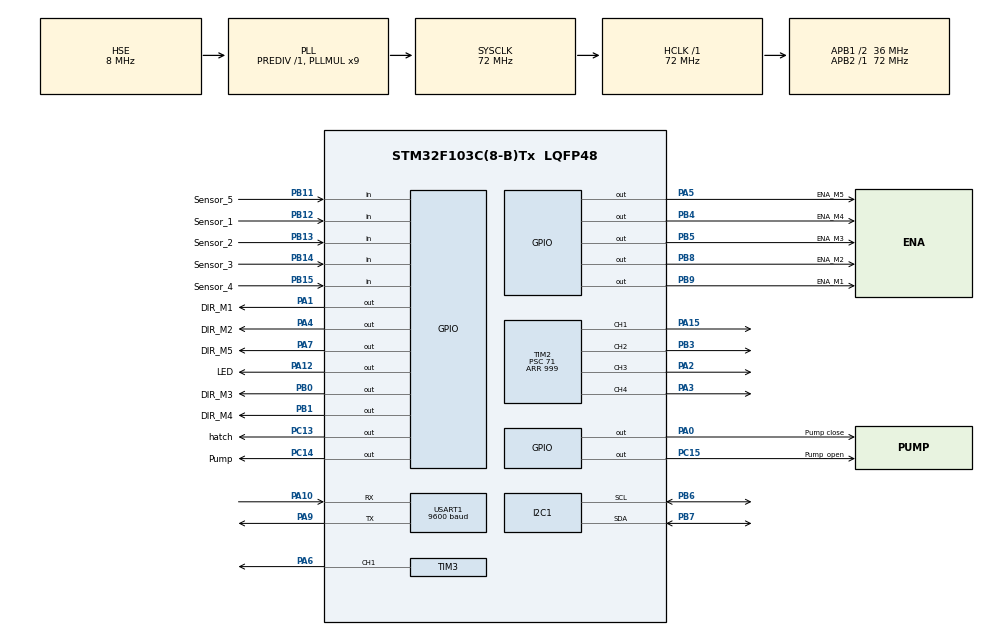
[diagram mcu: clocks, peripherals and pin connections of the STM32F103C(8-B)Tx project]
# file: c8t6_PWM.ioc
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Mcu.Family=STM32F1
Mcu.Name=STM32F103C(8-B)Tx
Mcu.Package=LQFP48
NVIC.PriorityGroup=NVIC_PRIORITYGROUP_4
NVIC.TIM2_IRQn=true\:0\:0\:false\:false\:true\:true\:true\:true
NVIC.TIM3_IRQn=true\:0\:0\:false\:false\:true\:true\:true\:true
NVIC.TIM4_IRQn=true\:0\:0\:false\:false\:true\:true\:true\:true
NVIC.USART1_IRQn=true\:0\:0\:false\:false\:true\:true\:true\:true
PA0-WKUP.GPIO_Label=Pump close
PA0-WKUP.Signal=GPIO_Output
PA1.GPIO_Label=DIR_M1
PA1.Signal=GPIO_Output
PA10.Mode=Asynchronous
PA10.Signal=USART1_RX
PA12.GPIO_Label=LED
PA12.Signal=GPIO_Output
PA13.Mode=Serial_Wire
PA13.Signal=SYS_JTMS-SWDIO
PA14.Mode=Serial_Wire
PA14.Signal=SYS_JTCK-SWCLK
PA15.Signal=S_TIM2_CH1_ETR
PA2.Signal=S_TIM2_CH3
PA3.Signal=S_TIM2_CH4
PA4.GPIO_Label=DIR_M2
PA4.Signal=GPIO_Output
PA5.GPIO_Label=ENA_M5
PA5.Signal=GPIO_Output
PA6.Signal=S_TIM3_CH1
PA7.GPIO_Label=DIR_M5
PA7.Signal=GPIO_Output
PA9.Mode=Asynchronous
PA9.Signal=USART1_TX
PB0.GPIO_Label=DIR_M3
PB0.Signal=GPIO_Output
PB1.GPIO_Label=DIR_M4
PB1.Signal=GPIO_Output
PB11.GPIO_Label=Sensor_5
PB11.Signal=GPIO_Input
PB12.GPIO_Label=Sensor_1
PB12.Signal=GPIO_Input
PB13.GPIO_Label=Sensor_2
PB13.Signal=GPIO_Input
PB14.GPIO_Label=Sensor_3
PB14.Signal=GPIO_Input
PB15.GPIO_Label=Sensor_4
PB15.Signal=GPIO_Input
PB3.Signal=S_TIM2_CH2
PB4.GPIO_Label=ENA_M4
PB4.Signal=GPIO_Output
PB5.GPIO_Label=ENA_M3
PB5.Signal=GPIO_Output
PB6.Mode=I2C
PB6.Signal=I2C1_SCL
PB7.Mode=I2C
PB7.Signal=I2C1_SDA
PB8.GPIO_Label=ENA_M2
PB8.Signal=GPIO_Output
PB9.GPIO_Label=ENA_M1
PB9.Signal=GPIO_Output
PC13-TAMPER-RTC.GPIO_Label=hatch
PC13-TAMPER-RTC.Signal=GPIO_Output
PC14-OSC32_IN.GPIO_Label=Pump
PC14-OSC32_IN.Signal=GPIO_Output
PC15-OSC32_OUT.GPIO_Label=Pump_open
PC15-OSC32_OUT.Signal=GPIO_Output
PD0-OSC_IN.Mode=HSE-External-Oscillator
PD0-OSC_IN.Signal=RCC_OSC_IN
PD1-OSC_OUT.Mode=HSE-External-Oscillator
PD1-OSC_OUT.Signal=RCC_OSC_OUT
ProjectManager.HeapSize=0x200
ProjectManager.StackSize=0x400
ProjectManager.TargetToolchain=STM32CubeIDE
RCC.AHBFreq_Value=72000000
RCC.APB1CLKDivider=RCC_HCLK_DIV2
RCC.APB1Freq_Value=36000000
RCC.APB1TimFreq_Value=72000000
RCC.APB2Freq_Value=72000000
RCC.APB2TimFreq_Value=72000000
RCC.HCLKFreq_Value=72000000
RCC.PLLMUL=RCC_PLL_MUL9
RCC.PLLSourceVirtual=RCC_PLLSOURCE_HSE
RCC.SYSCLKFreq_VALUE=72000000
RCC.SYSCLKSource=RCC_SYSCLKSOURCE_PLLCLK
RCC.USBFreq_Value=72000000
SH.S_TIM2_CH1_ETR.0=TIM2_CH1,PWM Generation1 CH1
SH.S_TIM2_CH2.0=TIM2_CH2,PWM Generation2 CH2
SH.S_TIM2_CH3.0=TIM2_CH3,PWM Generation3 CH3
SH.S_TIM2_CH4.0=TIM2_CH4,PWM Generation4 CH4
SH.S_TIM3_CH1.0=TIM3_CH1,PWM Generation1 CH1
TIM2.Channel-PWM\ Generation1\ CH1=TIM_CHANNEL_1
TIM2.Channel-PWM\ Generation2\ CH2=TIM_CHANNEL_2
TIM2.Channel-PWM\ Generation3\ CH3=TIM_CHANNEL_3
TIM2.Channel-PWM\ Generation4\ CH4=TIM_CHANNEL_4
TIM2.Period=999
TIM2.Prescaler=71
TIM2.Pulse-PWM\ Generation1\ CH1=500
TIM2.Pulse-PWM\ Generation2\ CH2=500
TIM2.Pulse-PWM\ Generation3\ CH3=500
TIM2.Pulse-PWM\ Generation4\ CH4=500
TIM3.Channel-PWM\ Generation1\ CH1=TIM_CHANNEL_1
TIM3.Period=999
TIM3.Prescaler=71
TIM3.Pulse-PWM\ Generation1\ CH1=500
TIM4.Period=999
TIM4.Prescaler=71
USART1.BaudRate=9600
USART1.Parity=PARITY_NONE
USART1.VirtualMode=VM_ASYNC
VP_IWDG_VS_IWDG.Mode=IWDG_Activate
VP_TIM2_VS_ClockSourceINT.Mode=Internal
VP_TIM3_VS_ClockSourceINT.Mode=Internal
VP_TIM4_VS_ClockSourceINT.Mode=Internal
board=custom

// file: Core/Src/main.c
/* USER CODE BEGIN Header */
/* USER CODE END Header */
#include "main.h"
#include "i2c.h"
#include "iwdg.h"
#include "tim.h"
#include "usart.h"
#include "gpio.h"

/* USER CODE BEGIN Includes */
#include "stm32f1xx_hal.h"
#include "string.h"
#include "stdio.h"
#include "stdint.h"
/* USER CODE END Includes */

/* USER CODE BEGIN PD */
#define DIR_M1 GPIO_PA1
#define DIR_M2 GPIO_PA4
#define DIR_M3 GPIO_PB0
#define DIR_M4 GPIO_PB1
#define DIR_M5 GPIO_PA7
#define LED_PIN GPIO_PIN_13
#define UART_BUFFER_SIZE 16

typedef enum{
	M1,
	M2,
	M3,
	M4,
	M5
} Motor;

typedef enum{
	A,
	B,
	C,
	D,
	E,
	F,
	G,
	H
}Prescription;

/* USER CODE END PD */

void SystemClock_Config(void);
/* USER CODE BEGIN PFP */
void Move_Motor(Motor motor, int16_t step);
void HAL_TIM_PWM_PulseFinishedCallback(TIM_HandleTypeDef *htim);
void HAL_UART_RxCpltCallback(UART_HandleTypeDef *huart);
void First_Pick(Prescription pres);
void Second_Pick(int16_t val1, int16_t val2, int16_t val3);
void Calibrate(Motor motor);
void Delay_ms(uint16_t delay_ms);

uint8_t rx_buffer[UART_BUFFER_SIZE]={0};
uint8_t tx_buffer[UART_BUFFER_SIZE]={0};

uint8_t calibration_done = 0;

volatile int16_t val1=0;
volatile int16_t val2=0;
volatile int16_t val3=0;

volatile uint8_t second_pick_flag = 0;
/* USER CODE END PFP */

/* USER CODE BEGIN 0 */
volatile uint16_t pwm_count_M1 = 0; // Tracks steps for Motor 1
volatile uint16_t pwm_target_M1 = 0;

volatile uint16_t pwm_count_M2 = 0;
volatile uint16_t pwm_target_M2 = 0;

volatile uint16_t pwm_count_M3 = 0;
volatile uint16_t pwm_target_M3 = 0;

volatile uint16_t pwm_count_M4 = 0;
volatile uint16_t pwm_target_M4 = 0;

volatile uint16_t pwm_count_M5 = 0;
volatile uint16_t pwm_target_M5 = 0;

volatile uint8_t M1_movedone = 0;
volatile uint8_t M2_movedone = 0;
volatile uint8_t M3_movedone = 0;
volatile uint8_t M4_movedone = 0;
volatile uint8_t M5_movedone = 0;

volatile uint32_t timer_delay = 0;

/* USER CODE END 0 */

int main(void)
{

  /* MCU Configuration--------------------------------------------------------*/

  /* Reset of all peripherals, Initializes the Flash interface and the Systick. */
  HAL_Init();

  /* Configure the system clock */
  SystemClock_Config();

  /* Initialize all configured peripherals */
  MX_GPIO_Init();
  MX_TIM2_Init();
  MX_USART1_UART_Init();
  MX_TIM3_Init();
  MX_TIM4_Init();
  MX_I2C1_Init();
  MX_IWDG_Init();
  /* USER CODE BEGIN 2 */

  Calibrate(M3);
  Calibrate(M1);
  Calibrate(M2);
  Calibrate(M5);
  Calibrate(M4);

  Delay_ms(1000);

  HAL_UART_Receive_IT(&huart1,rx_buffer,6);

//First_Pick();
//  Second_Pick(val1,val2,val3);
//  Move_Motor(M4,920,CCW); //CW:Pill 1->200, pill 2->380, pill 3->560, pill 4->740, pill 5->920, pill 6->1100, pill 7->1260, pill8->1450

  	  	  	Move_Motor(M1,1300); //MOVE M1
        	    while (!M1_movedone) {
        	    }

        	Move_Motor(M2,400);
        	    while (!M2_movedone) {
       	    }

        	Move_Motor(M4, -590); //MOVE BASKET //CW:Pill 1->-200, pill 2->-420, pill 3->-590, pill 4->-740, pill 5->-920, pill 6->-1100, pill 7->1260, pill8->1450
        	    while (!M4_movedone) {
        	    }

        	Delay_ms(500);

        	HAL_GPIO_WritePin(GPIOA, GPIO_PIN_0, GPIO_PIN_SET); //OPEN HATCH
        	Delay_ms(100);
        	HAL_GPIO_WritePin(GPIOA, GPIO_PIN_0, GPIO_PIN_SET); //PUMP Open
        	Delay_ms(100);
        	HAL_GPIO_WritePin(GPIOC, GPIO_PIN_14, GPIO_PIN_SET); // PUMP START
        	Delay_ms(100);

        	Move_Motor(M3,-2550);  //M3 DOWN
        		  while (!M3_movedone) {
                 }
        	Delay_ms(1000);

        	HAL_GPIO_WritePin(GPIOA, GPIO_PIN_0, GPIO_PIN_RESET); //PUMP reset
        	Delay_ms(100);
        	HAL_GPIO_WritePin(GPIOC, GPIO_PIN_14, GPIO_PIN_RESET); // PUMP STOP
        	Delay_ms(200);

            HAL_GPIO_WritePin(GPIOC, GPIO_PIN_13, GPIO_PIN_SET);
            Delay_ms(100);
            HAL_GPIO_WritePin(GPIOC, GPIO_PIN_14, GPIO_PIN_SET); // PUMP START
            Delay_ms(200);

        	Move_Motor(M3,2100); //M3 UP
        	while (!M3_movedone) {
       	    }

            Delay_ms(2000);
            HAL_GPIO_WritePin(GPIOC, GPIO_PIN_13, GPIO_PIN_RESET);
            Delay_ms(100);
        	HAL_GPIO_WritePin(GPIOA, GPIO_PIN_0, GPIO_PIN_SET);
        	Delay_ms(300);
        	HAL_GPIO_WritePin(GPIOA, GPIO_PIN_0, GPIO_PIN_RESET);
        	Delay_ms(300);
        	HAL_GPIO_WritePin(GPIOC, GPIO_PIN_14, GPIO_PIN_RESET); //PUMP STOP

        	Calibrate(M3);
        	Calibrate(M5);
        	Calibrate(M1);
        	Calibrate(M2);
        	Calibrate(M4);

        	Delay_ms(1000);

  /* USER CODE END 2 */

  /* Infinite loop */
  while(1){

    /* USER CODE BEGIN 3 */

      if(second_pick_flag)
      {
    	  second_pick_flag = 0;
          Second_Pick(val1, val2, val3);
         }

  }
  /* USER CODE END 3 */
}

void SystemClock_Config(void)
{
  RCC_OscInitTypeDef RCC_OscInitStruct = {0};
  RCC_ClkInitTypeDef RCC_ClkInitStruct = {0};

  /** Initializes the RCC Oscillators according to the specified parameters
  * in the RCC_OscInitTypeDef structure.
  */
  RCC_OscInitStruct.OscillatorType = RCC_OSCILLATORTYPE_LSI|RCC_OSCILLATORTYPE_HSE;
  RCC_OscInitStruct.HSEState = RCC_HSE_ON;
  RCC_OscInitStruct.HSEPredivValue = RCC_HSE_PREDIV_DIV1;
  RCC_OscInitStruct.HSIState = RCC_HSI_ON;
  RCC_OscInitStruct.LSIState = RCC_LSI_ON;
  RCC_OscInitStruct.PLL.PLLState = RCC_PLL_ON;
  RCC_OscInitStruct.PLL.PLLSource = RCC_PLLSOURCE_HSE;
  RCC_OscInitStruct.PLL.PLLMUL = RCC_PLL_MUL9;
  if (HAL_RCC_OscConfig(&RCC_OscInitStruct) != HAL_OK)
  {
    Error_Handler();
  }

  /** Initializes the CPU, AHB and APB buses clocks
  */
  RCC_ClkInitStruct.ClockType = RCC_CLOCKTYPE_HCLK|RCC_CLOCKTYPE_SYSCLK
                              |RCC_CLOCKTYPE_PCLK1|RCC_CLOCKTYPE_PCLK2;
  RCC_ClkInitStruct.SYSCLKSource = RCC_SYSCLKSOURCE_PLLCLK;
  RCC_ClkInitStruct.AHBCLKDivider = RCC_SYSCLK_DIV1;
  RCC_ClkInitStruct.APB1CLKDivider = RCC_HCLK_DIV2;
  RCC_ClkInitStruct.APB2CLKDivider = RCC_HCLK_DIV1;

  if (HAL_RCC_ClockConfig(&RCC_ClkInitStruct, FLASH_LATENCY_2) != HAL_OK)
  {
    Error_Handler();
  }
}

/* USER CODE BEGIN 4 */
void HAL_UART_RxCpltCallback(UART_HandleTypeDef *huart)
{

     val1 = 0; // Initialize to 0
     val2 = 0; // Initialize to 0
     val3 = 0; // Initialize to 0

	//Prescription pres='\0';

    if (huart->Instance == USART1)
    {

        val1 = (int16_t)(rx_buffer[0] | (rx_buffer[1] << 8));
        val2 = (int16_t)(rx_buffer[2] | (rx_buffer[3] << 8));
        val3 = (int16_t)(rx_buffer[4] | (rx_buffer[5] << 8));

    	tx_buffer[0] = (uint8_t)(val1 & 0xFF);
    	tx_buffer[1] = (uint8_t)((val1 >> 8) & 0xFF);

    	tx_buffer[2] = (uint8_t)(val2 & 0xFF);
    	tx_buffer[3] = (uint8_t)((val2 >> 8) & 0xFF);

    	tx_buffer[4] = (uint8_t)(val3 & 0xFF);
    	tx_buffer[5] = (uint8_t)((val3 >> 8) & 0xFF);

       	HAL_UART_Transmit(&huart1,tx_buffer, 6, 100);

       	second_pick_flag = 1;

//      switch(command)
//      {
//        case C: //Calibration
//        	if (strncmp((char*)rx_buffer, "C",1) == 0)
//	          {
//        		Calibrate(M3);
//        		Calibrate(M1);
//		  	    Calibrate(M2);
//		  	    Calibrate(M4);
//		  	    Calibrate(M5);
//		  	  	HAL_UART_Transmit(&huart1,(int16_t*)"Calibration ok\n", 15, 100);
//	          }
//        	else
//	          {
//	        	HAL_UART_Transmit(&huart1,(int16_t*)" Wrong command\n", 15, 100);
//	          }
//	    break;
//
//        case F: //First pick
//        	if (strncmp((char*)rx_buffer, "F",1) == 0)
//        	{
//        		HAL_UART_Transmit(&huart1,(int16_t*)"1st pick start\n", 15, 100);
//        		First_Pick();
//        	}
//        	else
//        	{
//        		HAL_UART_Transmit(&huart1,(int16_t*)" Wrong command\n", 15, 100);
//        	}
//        break;
//
//        case S: //Second pick
//        	if (strncmp((char*)rx_buffer, "S",1) == 0)
//        	  {
//        		HAL_UART_Transmit(&huart1,(int16_t*)"2nd pick start\n", 15, 100);
//        		Second_Pick( );
//        	  }
//        	else
//        	  {
//        		HAL_UART_Transmit(&huart1,(int16_t*)" Wrong command\n", 15, 100);
//              }
//        break;
//
//        case E: //Emergency stop
//                	if (strncmp((char*)rx_buffer, "E",1) == 0)
//        	          {
//        		  	  	HAL_UART_Transmit(&huart1,(int16_t*)"STOP\n", 6, 100);
//        		  	  	HAL_TIM_Base_Stop_IT(&htim2);
//        		  	  	HAL_TIM_Base_Stop_IT(&htim3);
//        	          }
//        	          else
//        	          {
//          	            HAL_UART_Transmit(&huart1,(int16_t*)" Wrong command\n", 15, 100);
//        	          }
//        	            // Transmit the response
//
//
//
//        	            //Clear the memeory
//
//        	    break;
//
//        default:
//            HAL_UART_Transmit(&huart1,(int16_t*)"No command\n", 15, 100);
//            	return;

//      }
      	  memset(rx_buffer, 0, UART_BUFFER_SIZE);
      	  memset(tx_buffer, 0, UART_BUFFER_SIZE);

    }
        // Re-initiate UART receive for the next byte
          HAL_UART_Receive_IT(&huart1,rx_buffer,6);
}

void Calibrate(Motor motor)
{
    GPIO_PinState sensor_state;

    switch (motor)
    {
    case M1:
        // Unidirectional calibration for Motor 1
    	uint32_t start_time_M1 = HAL_GetTick();
    	calibration_done = 0;

        while (!calibration_done)
        {
            // Read the sensor state for M1 (e.g., PB12)
        	sensor_state = HAL_GPIO_ReadPin(GPIOB, GPIO_PIN_12);
            if (sensor_state == GPIO_PIN_SET) // Sensor triggered (light blocked)
            {
            	HAL_TIM_PWM_Stop_IT(&htim2, TIM_CHANNEL_3); // Stop motor movement
            	calibration_done = 1;
                pwm_count_M1 = 0; // Reset step counter after reaching calibration point
            }
            else
            {
                // Move backward to the calibration point
            	  Move_Motor(M1,-200);//ARM_X

                // Timeout check

                if ((HAL_GetTick() - start_time_M1) > 10000)
                {
                    HAL_TIM_PWM_Stop_IT(&htim2, TIM_CHANNEL_3); // Stop the motor
                    HAL_UART_Transmit(&huart1,(uint8_t*)"M1 cali timeout\n",15, 100);

                }
           }
        }
        break;

    case M2:
        // Bidirectional calibration for Motor 2
    	uint32_t start_time_M2 = HAL_GetTick();
    	calibration_done = 0;
        uint8_t direction = 0; // 0 = backward, 1 = forward
        while (!calibration_done)
        {
            // Read the sensor state for M2 (e.g., PB13)
            sensor_state = HAL_GPIO_ReadPin(GPIOB, GPIO_PIN_13); // Replace GPIO_PIN_13 with actual sensor pin

            if (sensor_state == GPIO_PIN_SET) // Sensor triggered (light blocked)
            {
            	HAL_TIM_PWM_Stop_IT(&htim2, TIM_CHANNEL_4); // Stop motor movement
            	calibration_done = 1;
                pwm_count_M2 = 0; // Reset step counter after reaching calibration point
                break;
            }
            if (direction == 0) // backward
                       Move_Motor(M2, -200);
                   else // forward
                       Move_Motor(M2, 200);

                   // Wait for move to finish
            while (!M2_movedone) { /* Optionally add timeout here */ }
                   M2_movedone = 0; // reset for next move

                   uint32_t elapsed = HAL_GetTick() - start_time_M2;
                   if (elapsed > 10000) // Total timeout 10s
                   {
                       HAL_TIM_PWM_Stop_IT(&htim2, TIM_CHANNEL_4);
                       HAL_UART_Transmit(&huart1, (uint8_t*)"M2 cali timeout\n", 15, 100);
                       break;
                   }
                   else if (elapsed > 5000 && direction == 0)
                   {
                       // Switch direction after 5s of moving backward with no sensor trigger
                       direction = 1;
                       start_time_M2 = HAL_GetTick(); // reset timer for new direction
                   }
               }
           break;

    case M3:
    	uint32_t start_time_M3 = HAL_GetTick();
        // Unidirectional calibration for Motor 3
    	 calibration_done = 0;
        while (!calibration_done)
        {
            sensor_state = HAL_GPIO_ReadPin(GPIOB, GPIO_PIN_14); // Replace GPIO_PIN_14 with actual sensor pin

            if (sensor_state == GPIO_PIN_SET) // Sensor triggered (light blocked)
            {
            	HAL_TIM_PWM_Stop_IT(&htim2, TIM_CHANNEL_1); // Stop motor movement
            	calibration_done = 1;
                pwm_count_M3 = 0; // Reset step counter after reaching calibration point

            }
            else
            {
                // Move backward to the calibration point
          	  Move_Motor(M3,200);//ARM_X

                // Timeout check
                if ((HAL_GetTick() - start_time_M3) > 10000)
                {
                    HAL_TIM_PWM_Stop_IT(&htim2, TIM_CHANNEL_1); // Stop the motor
                    HAL_UART_Transmit(&huart1,(uint8_t*)"M3 cali timeout\n",15, 100);
                }
            }
        }
        break;

    case M4:
        	uint32_t start_time_M4 = HAL_GetTick();
            // Unidirectional calibration for Motor 3
        	 calibration_done = 0;
            while (!calibration_done)
            {
                sensor_state = HAL_GPIO_ReadPin(GPIOB, GPIO_PIN_15); // Replace GPIO_PIN_14 with actual sensor pin

                if (sensor_state == GPIO_PIN_SET) // Sensor triggered (light blocked)
                {
                	HAL_TIM_PWM_Stop_IT(&htim2, TIM_CHANNEL_2); // Stop motor movement
                	calibration_done = 1;
                    pwm_count_M4 = 0; // Reset step counter after reaching calibration point

                }
                else
                {
                    // Move backward to the calibration point
              	  Move_Motor(M4,200);//ARM_X

                    // Timeout check
                    if ((HAL_GetTick() - start_time_M4) > 10000)
                    {
                        HAL_TIM_PWM_Stop_IT(&htim2, TIM_CHANNEL_2); // Stop the motor
                        HAL_UART_Transmit(&huart1,(uint8_t*)"M4 cali timeout\n",15, 100);
                    }
                }
            }
            break;
    case M5:
        	uint32_t start_time_M5 = HAL_GetTick();
        	uint8_t calibration_done = 0;
            // Unidirectional calibration for Motor 3
            while (!calibration_done)
            {
                sensor_state = HAL_GPIO_ReadPin(GPIOB, GPIO_PIN_11); // Replace GPIO_PIN_14 with actual sensor pin

                if (sensor_state == GPIO_PIN_SET) // Sensor triggered (light blocked)
                {
                	HAL_TIM_PWM_Stop_IT(&htim3, TIM_CHANNEL_1); // Stop motor movement
                    calibration_done = 1;
                    pwm_count_M5 = 0; // Reset step counter after reaching calibration point

                }
                else
                {
                    // Move backward to the calibration point
                	Move_Motor(M5,200);

                    // Timeout check
                    if ((HAL_GetTick() - start_time_M5) > 10000)
                    {
                        HAL_TIM_PWM_Stop_IT(&htim3, TIM_CHANNEL_1); // Stop the motor
                        HAL_UART_Transmit(&huart1,(uint8_t*)"M5 cali timeout\n",15, 100);
                    }
                }
            }
            break;
    // Add similar logic for M4, M5, M6 (unidirectional calibration)
    default:
    	HAL_UART_Transmit(&huart1,(uint8_t*)"Wrong cali cmd\n",15, 100);
        Error_Handler(); // If motor is invalid, return failure
    }

}

void HAL_TIM_PWM_PulseFinishedCallback(TIM_HandleTypeDef *htim)
{

    if (htim->Instance == htim2.Instance)
    {

        if (htim->Channel == HAL_TIM_ACTIVE_CHANNEL_3)
        {
        	pwm_count_M1 ++;

        	if(pwm_count_M1 >= pwm_target_M1)
        	{
        		HAL_TIM_PWM_Stop_IT(&htim2, TIM_CHANNEL_3);
        		pwm_count_M1 = 0;
        		M1_movedone = 1;

        	}
             //Stop PWM generation for Channel 1
        }

        else if (htim->Channel == HAL_TIM_ACTIVE_CHANNEL_4)
        {
        	pwm_count_M2 ++;

        	if(pwm_count_M2 >= pwm_target_M2)
        	{
            HAL_TIM_PWM_Stop_IT(&htim2, TIM_CHANNEL_4);
            pwm_count_M2 = 0;
            M2_movedone = 1;

        	}
        }

        else if (htim->Channel == HAL_TIM_ACTIVE_CHANNEL_1)
        {
        	pwm_count_M3 ++;

        	if(pwm_count_M3 >= pwm_target_M3)
        	{
            HAL_TIM_PWM_Stop_IT(&htim2, TIM_CHANNEL_1);
            pwm_count_M3 = 0;
            M3_movedone = 1;

        	}
        }

        else if (htim->Channel == HAL_TIM_ACTIVE_CHANNEL_2)
        {
        	pwm_count_M4 ++;

        	if(pwm_count_M4 >= pwm_target_M4)
        	{
            HAL_TIM_PWM_Stop_IT(&htim2, TIM_CHANNEL_2);
            pwm_count_M4 = 0;
            M4_movedone = 1;

        	}
        }
    }

    if (htim->Instance == htim3.Instance && htim->Channel == HAL_TIM_ACTIVE_CHANNEL_1)
        {

            	pwm_count_M5 ++;

            	if(pwm_count_M5 >= pwm_target_M5)
            	{
            		HAL_TIM_PWM_Stop_IT(&htim3, TIM_CHANNEL_1);
            		pwm_count_M5 = 0;
                    M5_movedone = 1;

            	}
        }
}

void HAL_TIM_PeriodElapsedCallback(TIM_HandleTypeDef *htim) {
    if(htim == &htim4 ||timer_delay > 0) {
        	timer_delay--;
    }
 }

void Delay_ms(uint16_t ms) {
    timer_delay = ms;
    HAL_TIM_Base_Start_IT(&htim4);
    while(timer_delay > 0);
    HAL_TIM_Base_Stop_IT(&htim4);
}

void First_Pick(Prescription pres)
{
//	Calibrate(M1);
//	Calibrate(M2);
//	Calibrate(M3);
//	Calibrate(M4);
//	Calibrate(M5);
//	Delay_ms(100);

    M1_movedone = 0;
    M2_movedone = 0;
    M3_movedone = 0;
    M4_movedone = 0;
    M5_movedone = 0;

    switch(pres){

    case A:

	  	  	Move_Motor(M1,1400); //MOVE M1
    	    while (!M1_movedone) {
    	    }

    	Move_Motor(M2,400);
    	    while (!M2_movedone) {
   	    }

    	Move_Motor(M4, -240); //MOVE BASKET //CW:Pill 1->-240, pill 2->-420, pill 3->-590, pill 4->-740, pill 5->-920, pill 6->-1100, pill 7->1260, pill8->1450
    	    while (!M4_movedone) {
    	    }

    	Delay_ms(50);

    	//HAL_GPIO_WritePin(GPIOA, GPIO_PIN_0, GPIO_PIN_SET); //OPEN HATCH
    	//Delay_ms(100);
    	HAL_GPIO_WritePin(GPIOA, GPIO_PIN_0, GPIO_PIN_SET); //PUMP Open
    	Delay_ms(100);
    	HAL_GPIO_WritePin(GPIOC, GPIO_PIN_14, GPIO_PIN_SET); // PUMP START
    	Delay_ms(100);

//       	Move_Motor(M5, 90); //MOVE BASKET //CW:Pill 1->-240, pill 2->-420, pill 3->-560, pill 4->-740, pill 5->-920, pill 6->-1100, pill 7->1260, pill8->1450
//        	    while (!M5_movedone) {
//        	    }
//            	Delay_ms(100);
    	Move_Motor(M3,-2400);  //M3 DOWN
    		  while (!M3_movedone) {
             }
    	Delay_ms(1000);

    	HAL_GPIO_WritePin(GPIOA, GPIO_PIN_0, GPIO_PIN_RESET); //PUMP reset
    	Delay_ms(100);
    	HAL_GPIO_WritePin(GPIOC, GPIO_PIN_14, GPIO_PIN_RESET); // PUMP STOP
    	Delay_ms(200);

        HAL_GPIO_WritePin(GPIOC, GPIO_PIN_13, GPIO_PIN_SET);
        Delay_ms(100);
        HAL_GPIO_WritePin(GPIOC, GPIO_PIN_14, GPIO_PIN_SET); // PUMP START
        Delay_ms(200);
    	Move_Motor(M3,2100); //M3 UP
    	while (!M3_movedone) {
   	    }

        Delay_ms(2000);
        HAL_GPIO_WritePin(GPIOC, GPIO_PIN_13, GPIO_PIN_RESET);
        Delay_ms(100);
    	HAL_GPIO_WritePin(GPIOC, GPIO_PIN_14, GPIO_PIN_RESET); //PUMP STOP
    	Delay_ms(100);
    	HAL_GPIO_WritePin(GPIOA, GPIO_PIN_0, GPIO_PIN_SET);
    	Delay_ms(100);

    	HAL_GPIO_WritePin(GPIOA, GPIO_PIN_0, GPIO_PIN_RESET);
    	Delay_ms(100);

    	Calibrate(M3);
    	Calibrate(M1);
    	Calibrate(M2);
    	Calibrate(M4);
    	Calibrate(M5);
    	Delay_ms(500);

    break;

    case B:
	  	  	Move_Motor(M1,1300); //MOVE M1
    	    while (!M1_movedone) {
    	    }

    	Move_Motor(M2,400);
    	    while (!M2_movedone) {
   	    }

    	Move_Motor(M4, -420); //MOVE BASKET //CW:Pill 1->-200, pill 2->-420, pill 3->-560, pill 4->-740, pill 5->-920, pill 6->-1100, pill 7->1260, pill8->1450
    	    while (!M4_movedone) {
    	    }

    	Delay_ms(500);

    	HAL_GPIO_WritePin(GPIOA, GPIO_PIN_0, GPIO_PIN_SET); //OPEN HATCH
    	Delay_ms(100);
    	HAL_GPIO_WritePin(GPIOA, GPIO_PIN_0, GPIO_PIN_SET); //PUMP Open
    	Delay_ms(100);
    	HAL_GPIO_WritePin(GPIOC, GPIO_PIN_14, GPIO_PIN_SET); // PUMP START
    	Delay_ms(100);

    	Move_Motor(M3,-2550);  //M3 DOWN
    		  while (!M3_movedone) {
             }
    	Delay_ms(1000);

    	HAL_GPIO_WritePin(GPIOA, GPIO_PIN_0, GPIO_PIN_RESET); //PUMP reset
    	Delay_ms(100);
    	HAL_GPIO_WritePin(GPIOC, GPIO_PIN_14, GPIO_PIN_RESET); // PUMP STOP
    	Delay_ms(200);

        HAL_GPIO_WritePin(GPIOC, GPIO_PIN_13, GPIO_PIN_SET);
        Delay_ms(100);
        HAL_GPIO_WritePin(GPIOC, GPIO_PIN_14, GPIO_PIN_SET); // PUMP START
        Delay_ms(200);

    	Move_Motor(M3,2100); //M3 UP
    	while (!M3_movedone) {
   	    }

        Delay_ms(2000);
        HAL_GPIO_WritePin(GPIOC, GPIO_PIN_13, GPIO_PIN_RESET);
        Delay_ms(100);
    	HAL_GPIO_WritePin(GPIOA, GPIO_PIN_0, GPIO_PIN_SET);
    	Delay_ms(300);
    	HAL_GPIO_WritePin(GPIOA, GPIO_PIN_0, GPIO_PIN_RESET);
    	Delay_ms(300);
    	HAL_GPIO_WritePin(GPIOC, GPIO_PIN_14, GPIO_PIN_RESET); //PUMP STOP

    	Calibrate(M3);
    	Calibrate(M5);
    	Calibrate(M1);
    	Calibrate(M2);
    	Calibrate(M4);

    	Delay_ms(1000);

    break;
    case C:
    			  Move_Motor(M1,1400); //MOVE M1
    	      	    while (!M1_movedone) {
    	      	    }

    	      	  Move_Motor(M2,400);
    	      	    while (!M2_movedone) {
    	     	    }

    	      	  Move_Motor(M4, -560); //MOVE BASKET //CW:Pill 1->-200, pill 2->-380, pill 3->-560, pill 4->-740, pill 5->-920, pill 6->-1100, pill 7->1260, pill8->1450
    	      	    while (!M4_movedone) {
    	      	    }

    	      	  Delay_ms(50);

    	      	  //HAL_GPIO_WritePin(GPIOA, GPIO_PIN_0, GPIO_PIN_SET); //OPEN HATCH
    	      	  //Delay_ms(100);
    	      	  HAL_GPIO_WritePin(GPIOA, GPIO_PIN_0, GPIO_PIN_SET); //PUMP Open
    	      	  Delay_ms(50);
    	          HAL_GPIO_WritePin(GPIOC, GPIO_PIN_14, GPIO_PIN_SET); // PUMP START
    	    	  Delay_ms(50);
    	          Move_Motor(M3,-2300);  //M3 DOWN
    	      		  while (!M3_movedone) {
    	               }
    	      		  Delay_ms(1000);

    	 		  HAL_GPIO_WritePin(GPIOA, GPIO_PIN_0, GPIO_PIN_RESET); //PUMP reset
    	 		  Delay_ms(100);
    	 		  HAL_GPIO_WritePin(GPIOC, GPIO_PIN_14, GPIO_PIN_RESET); // PUMP STOP
    	 		  Delay_ms(50);

    	          HAL_GPIO_WritePin(GPIOC, GPIO_PIN_13, GPIO_PIN_SET);
    	          Delay_ms(50);
    	          HAL_GPIO_WritePin(GPIOC, GPIO_PIN_14, GPIO_PIN_SET); // PUMP START
    	          Delay_ms(200);
    	          Move_Motor(M3,2100); //M3 UP
    	          while (!M3_movedone) {
    	     	    }

    	          Delay_ms(2200);
    	          HAL_GPIO_WritePin(GPIOC, GPIO_PIN_13, GPIO_PIN_RESET);
    	          Delay_ms(100);
    	          HAL_GPIO_WritePin(GPIOC, GPIO_PIN_14, GPIO_PIN_RESET); //PUMP STOP
    	          HAL_GPIO_WritePin(GPIOA, GPIO_PIN_0, GPIO_PIN_SET);
    	          Delay_ms(50);
    	          HAL_GPIO_WritePin(GPIOA, GPIO_PIN_0, GPIO_PIN_RESET);

    break;
    case D:
  	  Move_Motor(M1,1400); //MOVE M1
  	    while (!M1_movedone) {
  	    }

  	  Move_Motor(M2,400);
  	    while (!M2_movedone) {
  	    }

  	  Move_Motor(M4, -740); //MOVE BASKET //CW:Pill 1->-200, pill 2->-380, pill 3->-560, pill 4->-740, pill 5->-920, pill 6->-1100, pill 7->1260, pill8->1450
  	    while (!M4_movedone) {
  	    }

  	  Delay_ms(50);

  	  //HAL_GPIO_WritePin(GPIOA, GPIO_PIN_0, GPIO_PIN_SET); //OPEN HATCH
  	  //Delay_ms(100);
  	  HAL_GPIO_WritePin(GPIOA, GPIO_PIN_0, GPIO_PIN_SET); //PUMP Open
  	  Delay_ms(50);
  	  HAL_GPIO_WritePin(GPIOC, GPIO_PIN_14, GPIO_PIN_SET); // PUMP START
  	  Delay_ms(50);
  	  Move_Motor(M3,-2300);  //M3 DOWN
  		  while (!M3_movedone) {
         }
  		  Delay_ms(1000);

  	  HAL_GPIO_WritePin(GPIOA, GPIO_PIN_0, GPIO_PIN_RESET); //PUMP reset
  	  Delay_ms(100);
  	  HAL_GPIO_WritePin(GPIOC, GPIO_PIN_14, GPIO_PIN_RESET); // PUMP STOP
  	  Delay_ms(50);

  	  HAL_GPIO_WritePin(GPIOC, GPIO_PIN_13, GPIO_PIN_SET);
  	  Delay_ms(50);
  	  HAL_GPIO_WritePin(GPIOC, GPIO_PIN_14, GPIO_PIN_SET); // PUMP START
  	  Delay_ms(200);
  	  Move_Motor(M3,2100); //M3 UP
  	  while (!M3_movedone) {
  	    }

  	  Delay_ms(2200);
  	  HAL_GPIO_WritePin(GPIOC, GPIO_PIN_13, GPIO_PIN_RESET);
  	  Delay_ms(100);
  	  HAL_GPIO_WritePin(GPIOC, GPIO_PIN_14, GPIO_PIN_RESET); //PUMP STOP
  	  HAL_GPIO_WritePin(GPIOA, GPIO_PIN_0, GPIO_PIN_SET);
  	  Delay_ms(50);
  	  HAL_GPIO_WritePin(GPIOA, GPIO_PIN_0, GPIO_PIN_RESET);

    break;
    case E:

    break;
    case F:

    break;
    case G:

    break;
    case H:

    break;

    default:

    }

	Move_Motor(M1,1300); //MOVE M1
	    while (!M1_movedone) {
	    }

	Move_Motor(M2,500);
	    while (!M2_movedone) {
	    }

	Move_Motor(M4, -220); //MOVE BASKET //CW:Pill 1->-200, pill 2->-380, pill 3->-560, pill 4->-740, pill 5->-920, pill 6->-1100, pill 7->1260, pill8->1450
	    while (!M4_movedone) {
	    }

	Delay_ms(100);
	HAL_GPIO_WritePin(GPIOA, GPIO_PIN_0, GPIO_PIN_SET); //OPEN HATCH

    Move_Motor(M3,-1500);  //M3 DOWN
		    while (!M3_movedone) {
		    }

	HAL_GPIO_WritePin(GPIOC, GPIO_PIN_14, GPIO_PIN_SET); //PUMP ON
	Delay_ms(750);

	Move_Motor(M3,1500); //M3 UP
	while (!M3_movedone) {
	    }

	Delay_ms(1000);
	HAL_GPIO_WritePin(GPIOA, GPIO_PIN_0, GPIO_PIN_RESET); //CLOSE HATCH

	Delay_ms(750);
	HAL_GPIO_WritePin(GPIOC, GPIO_PIN_14, GPIO_PIN_RESET); //PUMP OFF

}
void Second_Pick(int16_t val1, int16_t val2, int16_t val3)
{
	Calibrate(M1);
	Calibrate(M2);
	Calibrate(M3);
	Calibrate(M4);
	Calibrate(M5);
	Delay_ms(500);

    M1_movedone = 0;
    M2_movedone = 0;
    M3_movedone = 0;
    M4_movedone = 0;
    M5_movedone = 0;

	Move_Motor(M1,1500+val3); //origin 1300, down->+, right->+    M1>CORDINMATE SENCOND DATA  M2> COR FIRST DATA  CCW>-
	    while (!M1_movedone) {
	    }
		Delay_ms(100);

    Move_Motor(M2,val2);
		    while (!M2_movedone) {
		    }

	Delay_ms(100);
    Move_Motor(M5,val1);
		    while (!M5_movedone) {
		    }
			Delay_ms(100);
	Move_Motor(M3,-630);
	    while (!M3_movedone) {
	    }

	Delay_ms(100);
    HAL_GPIO_WritePin(GPIOC, GPIO_PIN_13, GPIO_PIN_SET);
    Delay_ms(100);
     HAL_GPIO_WritePin(GPIOC, GPIO_PIN_14, GPIO_PIN_SET); // PUMP START
     Delay_ms(500);

     Move_Motor(M3,300);
     while (!M3_movedone) {
     }
     Delay_ms(1500);
     HAL_GPIO_WritePin(GPIOC, GPIO_PIN_13, GPIO_PIN_RESET);
     Delay_ms(100);
     HAL_GPIO_WritePin(GPIOC, GPIO_PIN_14, GPIO_PIN_RESET); //PUMP STOP
     HAL_GPIO_WritePin(GPIOA, GPIO_PIN_0, GPIO_PIN_SET);
     Delay_ms(50);
     HAL_GPIO_WritePin(GPIOA, GPIO_PIN_0, GPIO_PIN_RESET);

//
//	Move_Motor(M4, -220); //MOVE BASKET
//	    while (!M4_movedone) {
//	    }
//
//
//    Delay_ms(100);
//    	HAL_GPIO_WritePin(GPIOA, GPIO_PIN_0, GPIO_PIN_SET); //OPEN HATCH
//
//	Delay_ms(100);
//	HAL_GPIO_WritePin(GPIOC, GPIO_PIN_14, GPIO_PIN_RESET);
//
//    Delay_ms(100);
//    	HAL_GPIO_WritePin(GPIOA, GPIO_PIN_0, GPIO_PIN_RESET); //CLOSE HATCH
//
//    	Delay_ms(100);

//        	Calibrate(M2);
//        	Calibrate(M1);
//
//        	Calibrate(M3);
//        	Calibrate(M4);
//        	Calibrate(M5);

}

void Move_Motor(Motor motor, int16_t step)
{

	uint16_t abs_step = (step < 0) ? -step : step;
	switch (motor)
	{
	case M1:
		HAL_GPIO_WritePin(GPIOA, DIR_M1_Pin, (step < 0) ? GPIO_PIN_RESET : GPIO_PIN_SET);// Set direction right<0, left>0,
	    pwm_target_M1 = abs_step;                        // Set target steps
	    pwm_count_M1 = 0;                             // Reset step count
	    HAL_TIM_PWM_Start_IT(&htim2, TIM_CHANNEL_3);

	    break;
	case M2:
		HAL_GPIO_WritePin(GPIOA, DIR_M2_Pin, (step < 0) ? GPIO_PIN_SET : GPIO_PIN_RESET);// Set direction  forward>0, backward<0
		pwm_target_M2 = abs_step;                        // Set target steps
		pwm_count_M2 = 0;                             // Reset step count
		HAL_TIM_PWM_Start_IT(&htim2, TIM_CHANNEL_4);
		break;
	case M3:
		HAL_GPIO_WritePin(GPIOB, DIR_M3_Pin, (step < 0) ? GPIO_PIN_RESET : GPIO_PIN_SET);// Set direction up>0, down<0
		pwm_target_M3 = abs_step;                        // Set target steps
		pwm_count_M3 = 0;                             // Reset step count
		HAL_TIM_PWM_Start_IT(&htim2, TIM_CHANNEL_1);
		break;
	case M4:
		HAL_GPIO_WritePin(GPIOB, DIR_M4_Pin, (step < 0) ? GPIO_PIN_RESET : GPIO_PIN_SET);// Set direction cw>0, ccw<0
		pwm_target_M4 = abs_step;                        // Set target steps
		pwm_count_M4 = 0;                             // Reset step count
		HAL_TIM_PWM_Start_IT(&htim2, TIM_CHANNEL_2);
		break;
	case M5:
		HAL_GPIO_WritePin(GPIOA, DIR_M5_Pin, (step < 0) ? GPIO_PIN_RESET : GPIO_PIN_SET);// Set direction CW>0, CCW<0
		pwm_target_M5 = abs_step;                        // Set target steps
		pwm_count_M5 = 0;                             // Reset step count
		HAL_TIM_PWM_Start_IT(&htim3, TIM_CHANNEL_1);
		break;

	default:
		return;
	}

}
/**
  * @brief  This function is executed in case of error occurrence.
  * @retval None
  */
/* USER CODE END 4 */

void Error_Handler(void)
{
}
